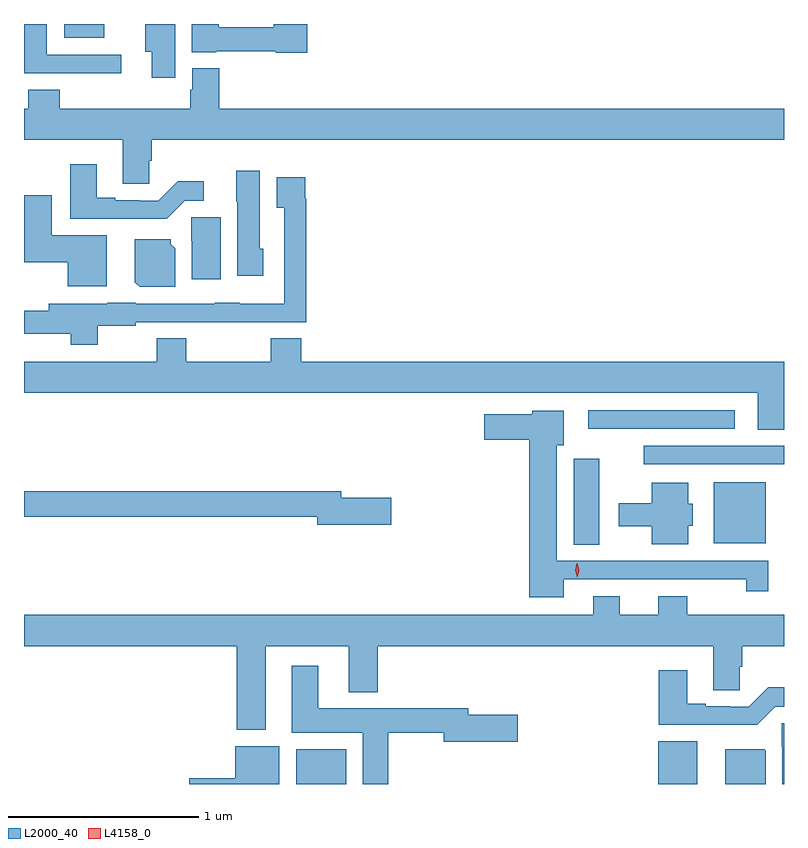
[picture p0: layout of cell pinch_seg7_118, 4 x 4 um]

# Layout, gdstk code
import gdstk
lib = gdstk.Library(unit=1e-6, precision=1e-09)
def R(c, l, rs):  # rectangles x0, y0, x1, y1
    for r in rs: c.add(gdstk.rectangle(r[:2], r[2:], *l))
def P(c, l, *ps):  # polygons
    for p in ps: c.add(gdstk.Polygon(p, *l))
L2000_40 = (2000, 40)
L4158_0 = (4158, 0)

pinch_seg7_118 = lib.new_cell('pinch_seg7_118')
R(pinch_seg7_118, L2000_40, [(971.315,1030.526,971.578,1030.708), (973.22,1030.526,973.426,1030.75), (972.776,1031.785,972.91,1032.238), (973.514,1031.792,973.786,1032.115), (973.146,1032.21,973.883,1032.306), (972.852,1032.396,973.624,1032.492), (970.094,1034.453,970.306,1034.526)])
P(pinch_seg7_118, L2000_40, [(970.678,1034.526),(970.52,1034.526),(970.52,1034.381),(970.556,1034.381),(970.556,1034.244),(970.678,1034.244)],
  [(970.396,1034.364),(970.003,1034.364),(970.003,1034.526),(969.883,1034.526),(969.883,1034.267),(970.396,1034.267)],
  [(971.375,1034.526),(971.197,1034.526),(971.197,1034.51),(970.908,1034.51),(970.908,1034.526),(970.766,1034.526),(970.766,1034.378),(970.896,1034.378),(970.896,1034.382),(971.208,1034.382),(971.208,1034.374),(971.375,1034.374)],
  [(970.542,1033.806),(970.556,1033.806),(970.556,1033.916),(973.883,1033.916),(973.883,1034.08),(970.91,1034.08),(970.91,1034.293),(970.769,1034.293),(970.769,1034.181),(970.757,1034.181),(970.757,1034.08),(970.07,1034.08),(970.07,1034.179),(969.905,1034.179),(969.905,1034.08),(969.883,1034.08),(969.883,1033.916),(970.403,1033.916),(970.403,1033.684),(970.542,1033.684)],
  [(970.728,1033.596),(970.828,1033.596),(970.828,1033.699),(970.693,1033.699),(970.59,1033.596),(970.49,1033.596),(970.49,1033.599),(970.363,1033.599),(970.363,1033.612),(970.267,1033.612),(970.267,1033.789),(970.127,1033.789),(970.127,1033.502),(970.634,1033.502)],
  [(971.143,1033.344),(971.125,1033.344),(971.125,1033.753),(971,1033.753),(971,1033.59),(971.006,1033.59),(971.006,1033.2),(971.143,1033.2)],
  [(970.27,1032.938),(970.47,1032.938),(970.47,1032.957),(970.887,1032.957),(970.887,1032.956),(971.119,1032.956),(971.119,1032.957),(971.369,1032.957),(971.369,1033.607),(971.362,1033.607),(971.362,1033.72),(971.213,1033.72),(971.213,1033.559),(971.253,1033.559),(971.253,1033.054),(971.019,1033.054),(971.019,1033.06),(970.887,1033.06),(970.887,1033.053),(970.47,1033.053),(970.47,1033.06),(970.32,1033.06),(970.32,1033.054),(970.013,1033.054),(970.013,1033.018),(969.883,1033.018),(969.883,1032.896),(970.129,1032.896),(970.129,1032.839),(970.27,1032.839)],
  [(970.318,1033.414),(970.03,1033.414),(970.03,1033.624),(969.883,1033.624),(969.883,1033.271),(970.112,1033.271),(970.112,1033.145),(970.318,1033.145)],
  [(970.918,1033.509),(970.762,1033.509),(970.762,1033.386),(970.766,1033.386),(970.766,1033.182),(970.918,1033.182)],
  [(970.678,1033.346),(970.656,1033.368),(970.656,1033.393),(970.466,1033.393),(970.466,1033.168),(970.492,1033.142),(970.678,1033.142)],
  [(973.883,1032.748),(971.342,1032.748),(971.342,1032.872),(971.182,1032.872),(971.182,1032.748),(970.737,1032.748),(970.737,1032.872),(970.582,1032.872),(970.582,1032.748),(969.883,1032.748),(969.883,1032.584),(973.745,1032.584),(973.745,1032.391),(973.883,1032.391)],
  [(972.724,1031.604),(973.456,1031.604),(973.456,1031.603),(973.684,1031.603),(973.684,1031.541),(973.801,1031.541),(973.801,1031.7),(972.688,1031.7),(972.688,1032.308),(972.724,1032.308),(972.724,1032.49),(972.558,1032.49),(972.558,1032.472),(972.306,1032.472),(972.306,1032.338),(972.542,1032.338),(972.542,1031.51),(972.724,1031.51)],
  [(973.378,1031.886),(973.402,1031.886),(973.402,1032),(973.378,1032),(973.378,1032.112),(973.187,1032.112),(973.187,1032.004),(973.014,1032.004),(973.014,1031.882),(973.187,1031.882),(973.187,1031.789),(973.378,1031.789)],
  [(971.815,1032.032),(971.554,1032.032),(971.554,1032.068),(969.883,1032.068),(969.883,1031.932),(971.426,1031.932),(971.426,1031.89),(971.815,1031.89)],
  [(969.883,1031.252),(971.003,1031.252),(971.003,1030.811),(971.155,1030.811),(971.155,1031.252),(971.591,1031.252),(971.591,1031.009),(971.744,1031.009),(971.744,1031.252),(973.511,1031.252),(973.511,1031.02),(973.65,1031.02),(973.65,1031.142),(973.664,1031.142),(973.664,1031.252),(973.883,1031.252),(973.883,1031.416),(973.373,1031.416),(973.373,1031.515),(973.22,1031.515),(973.22,1031.416),(973.018,1031.416),(973.018,1031.515),(972.878,1031.515),(972.878,1031.416),(969.883,1031.416)],
  [(971.801,1030.795),(972.092,1030.795),(972.092,1030.748),(972.481,1030.748),(972.481,1030.89),(972.22,1030.89),(972.22,1030.924),(971.431,1030.924),(971.431,1031.149),(971.291,1031.149),(971.291,1030.796),(971.666,1030.796),(971.666,1030.526),(971.801,1030.526)],
  [(973.836,1030.932),(973.883,1030.932),(973.883,1031.035),(973.801,1031.035),(973.698,1030.932),(973.598,1030.932),(973.598,1030.935),(973.471,1030.935),(973.471,1030.948),(973.375,1030.948),(973.375,1031.125),(973.223,1031.125),(973.223,1030.838),(973.741,1030.838)],
  [(973.883,1030.845),(973.87,1030.845),(973.87,1030.722),(973.874,1030.722),(973.874,1030.526),(973.883,1030.526)],
  [(971.227,1030.726),(970.994,1030.726),(970.994,1030.555),(970.752,1030.555),(970.752,1030.526),(971.227,1030.526)],
  [(973.786,1030.7),(973.778,1030.708),(973.574,1030.708),(973.574,1030.526),(973.786,1030.526)])
P(pinch_seg7_118, L4158_0, [(972.796,1031.615),(972.796,1031.615),(972.785,1031.651),(972.793,1031.687),(972.794,1031.687),(972.794,1031.687),(972.805,1031.651),(972.796,1031.615)])

lib.write_gds('pinch_seg7_118.gds')
